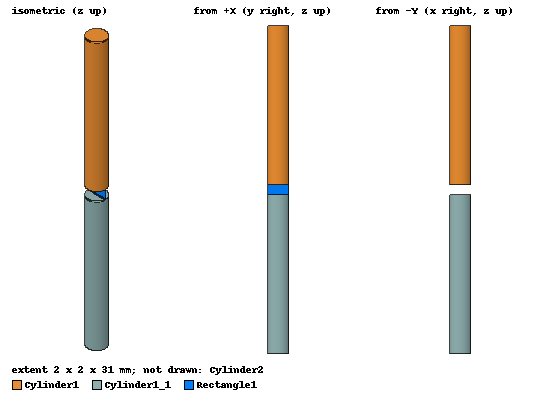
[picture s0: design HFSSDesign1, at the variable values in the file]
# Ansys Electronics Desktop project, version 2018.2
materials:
  vacuum: permittivity=1
  copper: permeability=0.999991 conductivity=58000000
  air: permittivity=1.0006 permeability=1.0000004

design HFSSDesign1 (HFSS, DrivenModal, model units mm)
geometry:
  Cylinder1 [copper] = cylinder(axis=Z, base_centre=(0mm, 0mm, 0.5mm), radius=1mm, height=15mm)
  Cylinder1_1 [copper] = Cylinder1.duplicate_mirror(point=(0mm, 0mm, 0mm), normal=(0mm, 0mm, -1mm))
  Rectangle1 = rectangle(corner=(0mm, -1mm, -0.5mm), y_size=2mm, z_size=1mm)
  Cylinder2 [air] = cylinder(axis=Z, base_centre=(0mm, 0mm, -200mm), radius=50mm, height=400mm)
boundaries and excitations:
  Rad1: Radiation Objects=Cylinder2
  1: Lumped Port Objects=Rectangle1 Modes{Mode1{IntLine{middle of Rectangle1.edge(z at corner) -> middle of Rectangle1.edge(z opposite corner)} CharImp=Zpi RenormImp=73ohm}} Impedance=50ohm
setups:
  Setup1: HfssDriven Frequency=5GHz MaxDeltaS=0.02 MaximumPasses=6 MinimumPasses=1 MinimumConvergedPasses=1 PercentRefinement=30 BasisOrder=1 PortAccuracy=2
    sweep Sweep: 3GHz to 7GHz, 401 points; Type=Interpolating InterpTolerance=0.5 InterpMaxSolns=250 InterpUsePortImped=false PassivityErrorTolerance=0.0001
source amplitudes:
  1:1: 1W 0deg
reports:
  S Parameter Plot 1: dB(S(1,1)) vs Freq on Setup1 : Sweep; markers m1 at 4.3511111GHz
